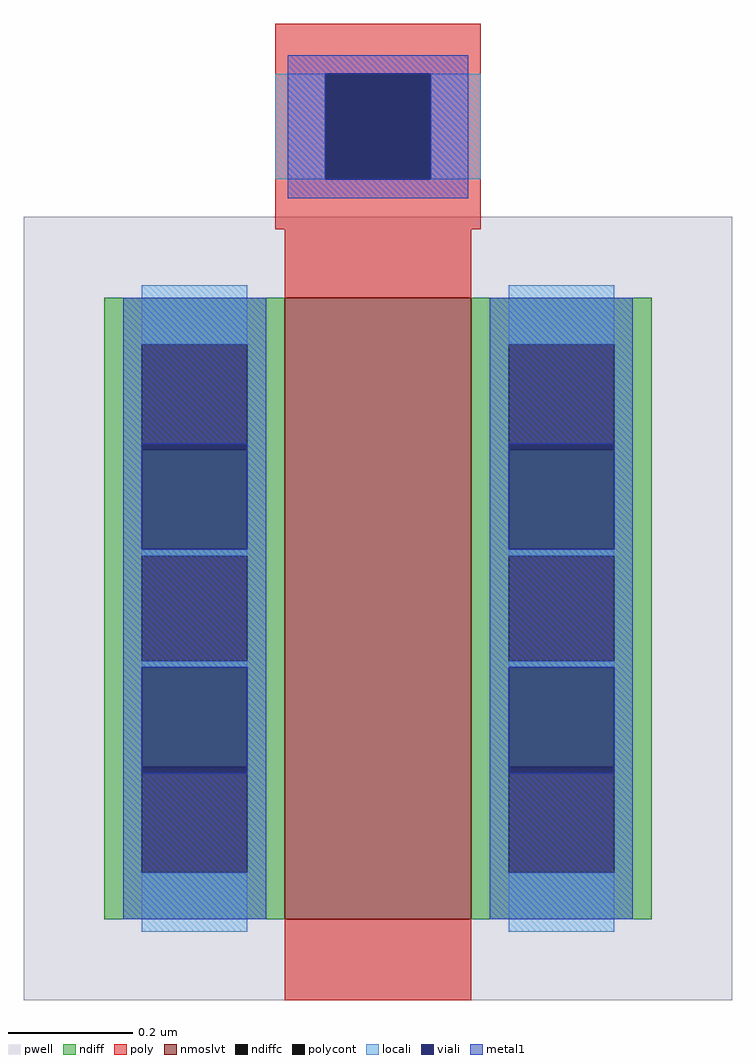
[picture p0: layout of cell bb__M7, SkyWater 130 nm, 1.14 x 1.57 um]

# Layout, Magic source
magic
tech sky130A
magscale 1 2
<< pwell >>
rect -114 -157 114 95
<< nmoslvt >>
rect -30 -131 30 69
<< ndiff >>
rect -88 54 -30 69
rect -88 20 -76 54
rect -42 20 -30 54
rect -88 -14 -30 20
rect -88 -48 -76 -14
rect -42 -48 -30 -14
rect -88 -82 -30 -48
rect -88 -116 -76 -82
rect -42 -116 -30 -82
rect -88 -131 -30 -116
rect 30 54 88 69
rect 30 20 42 54
rect 76 20 88 54
rect 30 -14 88 20
rect 30 -48 42 -14
rect 76 -48 88 -14
rect 30 -82 88 -48
rect 30 -116 42 -82
rect 76 -116 88 -82
rect 30 -131 88 -116
<< ndiffc >>
rect -76 20 -42 54
rect -76 -48 -42 -14
rect -76 -116 -42 -82
rect 42 20 76 54
rect 42 -48 76 -14
rect 42 -116 76 -82
<< poly >>
rect -33 141 33 157
rect -33 107 -17 141
rect 17 107 33 141
rect -33 91 33 107
rect -30 69 30 91
rect -30 -157 30 -131
<< polycont >>
rect -17 107 17 141
<< locali >>
rect -33 107 -17 141
rect 17 107 33 141
rect -76 54 -42 73
rect -76 -14 -42 -12
rect -76 -50 -42 -48
rect -76 -135 -42 -116
rect 42 54 76 73
rect 42 -14 76 -12
rect 42 -50 76 -48
rect 42 -135 76 -116
<< viali >>
rect -17 107 17 141
rect -76 20 -42 22
rect -76 -12 -42 20
rect -76 -82 -42 -50
rect -76 -84 -42 -82
rect 42 20 76 22
rect 42 -12 76 20
rect 42 -82 76 -50
rect 42 -84 76 -82
<< metal1 >>
rect -29 141 29 147
rect -29 107 -17 141
rect 17 107 29 141
rect -29 101 29 107
rect -82 22 -36 69
rect -82 -12 -76 22
rect -42 -12 -36 22
rect -82 -50 -36 -12
rect -82 -84 -76 -50
rect -42 -84 -36 -50
rect -82 -131 -36 -84
rect 36 22 82 69
rect 36 -12 42 22
rect 76 -12 82 22
rect 36 -50 82 -12
rect 36 -84 42 -50
rect 76 -84 82 -50
rect 36 -131 82 -84
<< end >>
